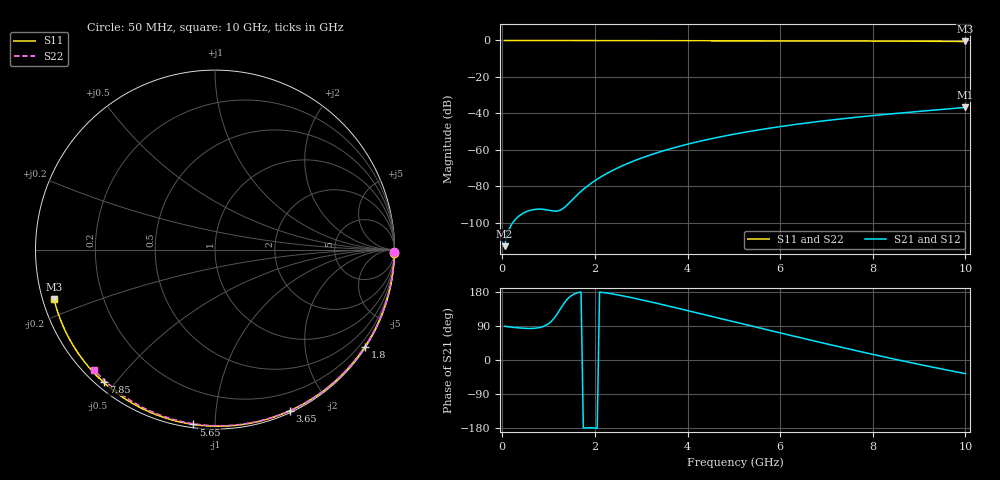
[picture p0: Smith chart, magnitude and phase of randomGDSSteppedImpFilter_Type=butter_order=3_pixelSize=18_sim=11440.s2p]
! freq	dB(S11)	phase(S11)	dB(S12)	phase(S12)
!  dB(S21)	phase(S21)	dB(S22)	phase(S22)
!S-par simulation data
#  GHz  S  DB  R 50
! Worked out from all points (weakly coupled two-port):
!   200 points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, 50 MHz to 10 GHz, reference 50 ohm
!   highest |S21| = -36.72 dB at 10 GHz (marker M1); lowest = -112.8 dB at 50 MHz (marker M2)
!   lowest |S11| = -0.6 dB at 10 GHz (marker M3), VSWR 31.38, Z = 1.63 - j7.47 ohm
!   |S11| at or under -10 dB: nowhere
!   |S22| runs from -0.5 to 0.0 dB; largest |S21 - S12| = 0
!   S11 on the Smith chart (normalised r, x): 50 MHz: open; 1.8 GHz: 0.03, -3.38; 3.65 GHz: 0.02, -1.57; 5.65 GHz: 0.02, -0.88; 7.85 GHz: 0.02, -0.47; 10 GHz: 0.03, -0.15
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0.05  -0.00 -0.9  -112.80 89.1  -112.80 89.1  -0.00 -0.8
0.85  -0.02 -15.8  -92.52 87.1  -92.52 87.1  -0.02 -13.1
1.3  -0.03 -24.0  -92.33 143.7  -92.33 143.7  -0.02 -19.9
1.75  -0.04 -32.1  -81.64 -179.5  -81.64 -179.5  -0.03 -26.7
1.8  -0.04 -33.0  -80.60 -179.0  -80.60 -179.0  -0.03 -27.4
1.85  -0.04 -33.9  -79.61 -178.8  -79.61 -178.8  -0.04 -28.2
2  -0.05 -36.6  -76.89 -179.4  -76.89 -179.4  -0.04 -30.4
2.2  -0.05 -40.1  -73.74 177.8  -73.74 177.8  -0.04 -33.4
2.55  -0.06 -46.3  -69.20 170.5  -69.20 170.5  -0.05 -38.5
2.95  -0.07 -53.2  -64.99 160.3  -64.99 160.3  -0.06 -44.3
3.4  -0.08 -60.9  -61.11 147.8  -61.11 147.8  -0.07 -50.8
3.65  -0.09 -65.1  -59.24 140.6  -59.24 140.6  -0.07 -54.3
4.3  -0.11 -75.8  -55.07 121.6  -55.07 121.6  -0.09 -63.4
5.05  -0.13 -87.8  -51.18 99.4  -51.18 99.4  -0.11 -73.5
5.65  -0.16 -97.1  -48.58 81.7  -48.58 81.7  -0.13 -81.4
6.15  -0.19 -104.7  -46.69 67.1  -46.69 67.1  -0.16 -87.9
6.7  -0.22 -113.0  -44.84 51.2  -44.84 51.2  -0.18 -94.8
7.25  -0.26 -121.2  -43.19 35.6  -43.19 35.6  -0.21 -101.6
7.85  -0.30 -130.0  -41.58 18.9  -41.58 18.9  -0.25 -109.0
8.35  -0.35 -137.4  -40.36 5.4  -40.36 5.4  -0.29 -115.0
9.2  -0.44 -150.3  -38.46 -16.6  -38.46 -16.6  -0.37 -125.3
10  -0.55 -163.0  -36.72 -36.0  -36.72 -36.0  -0.46 -135.2
